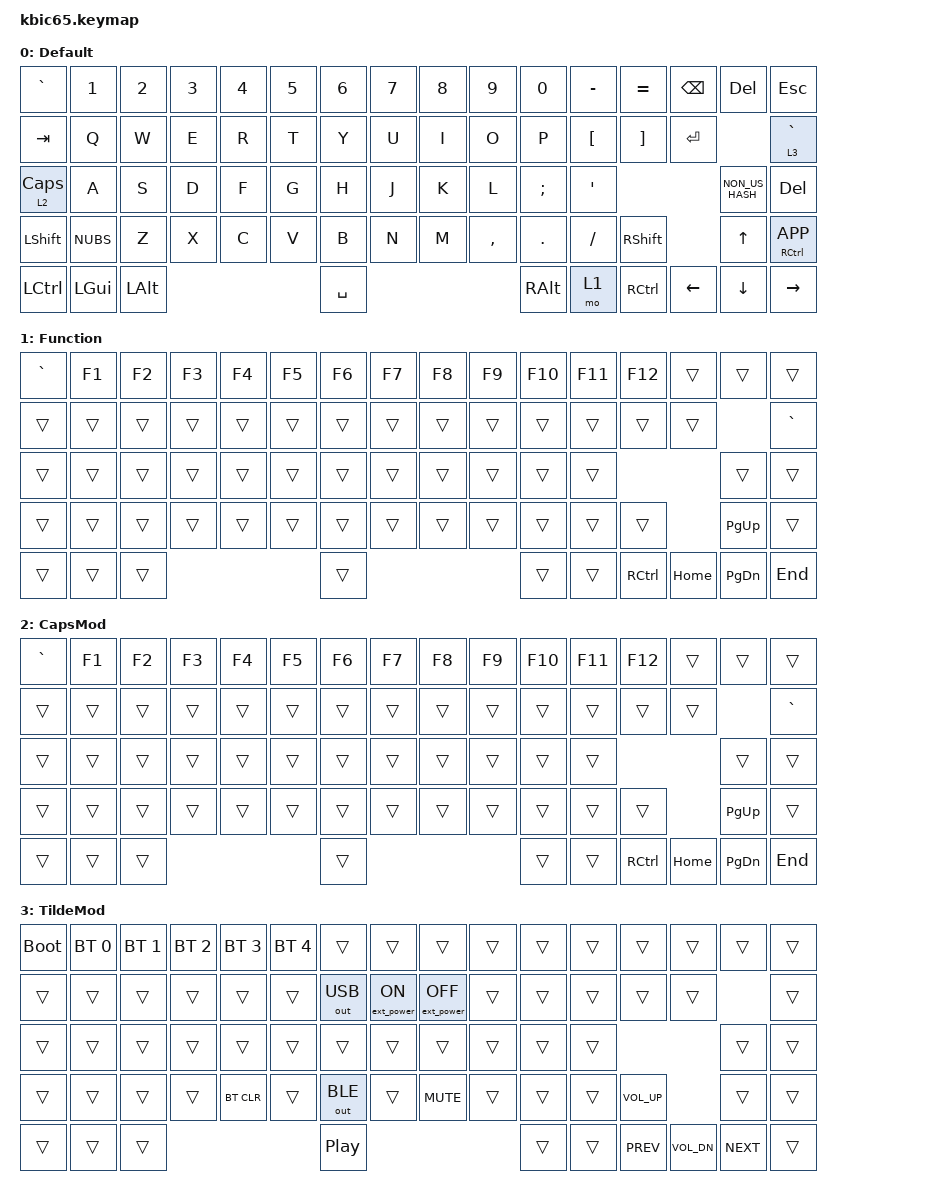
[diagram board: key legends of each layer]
/*
 * Copyright (c) 2020 The ZMK Contributors
 *
 * SPDX-License-Identifier: MIT
 */

#include <behaviors.dtsi>
#include <dt-bindings/zmk/keys.h>
#include <dt-bindings/zmk/bt.h>
#include <dt-bindings/zmk/ext_power.h>
#include <dt-bindings/zmk/outputs.h>

/ {
	keymap {
		compatible = "zmk,keymap";

		default_layer {
			label = "Default";

			bindings = <
            &kp GRAVE   &kp N1    &kp N2    &kp N3    &kp N4    &kp N5    &kp N6    &kp N7    &kp N8  &kp N9    &kp N0    &kp MINUS &kp EQUAL       &kp BSPC &kp DEL          &kp ESC
            &kp TAB     &kp Q     &kp W     &kp E     &kp R     &kp T     &kp Y     &kp U     &kp I   &kp O     &kp P     &kp LBKT  &kp RBKT        &kp RET                   &lt 3 GRAVE
            &lt 2 CLCK  &kp A     &kp S     &kp D     &kp F     &kp G     &kp H     &kp J     &kp K   &kp L     &kp SEMI  &kp SQT                            &kp NON_US_HASH  &kp DEL
            &kp LSHFT   &kp NUBS  &kp Z     &kp X     &kp C     &kp V     &kp B     &kp N     &kp M   &kp COMMA &kp DOT   &kp FSLH  &kp RSHFT                &kp UP           &mt RCTRL K_APP
            &kp LCTRL   &kp LGUI  &kp LALT                                &kp SPACE                             &kp RALT  &mo 1     &kp RCTRL		&kp LEFT &kp DOWN         &kp RIGHT
			>;
		};
		function_layer {
			label = "Function";

			bindings = <
            &kp GRAVE  &kp F1    &kp F2    &kp F3    &kp F4      &kp F5      &kp F6      &kp F7    &kp F8  &kp F9    &kp F10   &kp F11   &kp F12    &trans     &trans     &trans
            &trans     &trans    &trans    &trans    &trans      &trans      &trans      &trans    &trans  &trans    &trans    &trans    &trans     &trans                &kp GRAVE
            &trans     &trans    &trans    &trans    &trans      &trans      &trans      &trans    &trans  &trans    &trans    &trans                          &trans     &trans
            &trans     &trans    &trans    &trans    &trans      &trans      &trans      &trans    &trans  &trans    &trans    &trans    &trans                &kp PG_UP  &trans
            &trans     &trans    &trans                                      &trans                                  &trans    &trans    &kp RCTRL  &kp HOME   &kp PG_DN  &kp END
			>;
		};
		caps_mod_layer {
			label = "CapsMod";

			bindings = <
            &kp GRAVE  &kp F1    &kp F2    &kp F3    &kp F4    &kp F5    &kp F6    &kp F7    &kp F8    &kp F9    &kp F10    &kp F11    &kp F12      &trans      &trans       &trans
            &trans     &trans    &trans    &trans    &trans    &trans    &trans    &trans    &trans    &trans    &trans     &trans     &trans       &trans                   &kp GRAVE
            &trans     &trans    &trans    &trans    &trans    &trans    &trans    &trans    &trans    &trans    &trans     &trans                              &trans       &trans
            &trans     &trans    &trans    &trans    &trans    &trans    &trans    &trans    &trans    &trans    &trans     &trans     &trans                   &kp PG_UP    &trans
            &trans     &trans    &trans                                  &trans                                  &trans     &trans     &kp RCTRL    &kp HOME    &kp PG_DN    &kp END
			>;
		};
		tilde_mod_layer {
			label = "TildeMod";

			bindings = <
            &bootloader &bt BT_SEL 0 &bt BT_SEL 1 &bt BT_SEL 2 &bt BT_SEL 3 &bt BT_SEL 4 &trans &trans &trans &trans &trans &trans &trans &trans &trans &trans
            &trans      &trans       &trans       &trans       &trans       &trans       &out OUT_USB  &ext_power EP_ON &ext_power EP_OFF &trans    &trans    &trans     &trans                  &trans    &trans
            &trans      &trans       &trans       &trans       &trans       &trans       &trans        &trans           &trans            &trans    &trans                          &trans       &trans    &trans
            &trans      &trans       &trans       &trans       &bt BT_CLR   &trans       &out OUT_BLE &trans           &kp C_MUTE        &trans    &trans    &trans                &kp C_VOL_UP &trans    &trans
            &trans      &trans       &trans                                              &kp C_PP                                                  &trans    &trans     &kp C_PREV &kp C_VOL_DN &kp C_NEXT &trans
			>;
		};
	};
};
